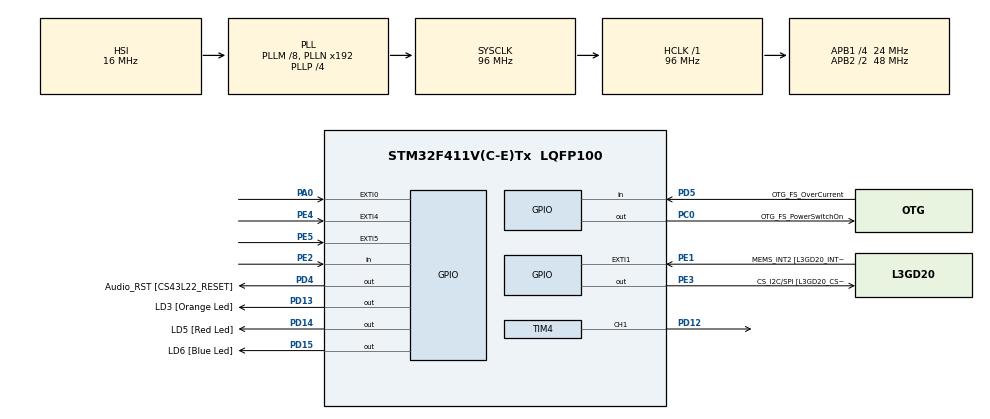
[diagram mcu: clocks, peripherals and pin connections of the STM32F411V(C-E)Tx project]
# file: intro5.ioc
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Mcu.Family=STM32F4
Mcu.Name=STM32F411V(C-E)Tx
Mcu.Package=LQFP100
NVIC.EXTI0_IRQn=true\:0\:0\:false\:false\:true\:true\:true\:true
NVIC.PriorityGroup=NVIC_PRIORITYGROUP_0
PA0-WKUP.GPIO_ModeDefaultEXTI=GPIO_MODE_IT_RISING
PA0-WKUP.Signal=GPXTI0
PA10.GPIO_Label=OTG_FS_ID
PA10.Signal=USB_OTG_FS_ID
PA11.GPIO_Label=OTG_FS_DM
PA11.Signal=USB_OTG_FS_DM
PA12.GPIO_Label=OTG_FS_DP
PA12.Signal=USB_OTG_FS_DP
PA13.GPIO_Label=SWDIO
PA13.Signal=SYS_JTMS-SWDIO
PA14.GPIO_Label=SWCLK
PA14.Signal=SYS_JTCK-SWCLK
PA4.GPIO_Label=I2S3_WS [CS43L22_LRCK]
PA4.GPIO_Mode=GPIO_MODE_AF_PP
PA4.GPIO_PuPd=GPIO_NOPULL
PA4.GPIO_Speed=GPIO_SPEED_FREQ_LOW
PA4.Signal=I2S3_WS
PA5.GPIO_Label=SPI1_SCK [L3GD20_SC/SPC]
PA5.Signal=SPI1_SCK
PA6.GPIO_Label=SPI1_MISO [L3GD20_AS0/SDO]
PA6.Signal=SPI1_MISO
PA7.GPIO_Label=SPI1_MOSI [L3GD20_SDA/SDI/SDO]
PA7.Signal=SPI1_MOSI
PA9.GPIO_Label=VBUS_FS
PA9.Signal=USB_OTG_FS_VBUS
PB10.GPIO_Label=CLK_IN [MP45DT02_CLK]
PB10.Signal=I2S2_CK
PB12.Signal=I2S2_WS
PB3.GPIO_Label=SWO
PB3.Signal=SYS_JTDO-SWO
PB6.GPIO_Label=Audio_SCL [CS43L22_SCL]
PB6.GPIO_Mode=GPIO_MODE_AF_OD
PB6.GPIO_PuPd=GPIO_NOPULL
PB6.GPIO_Speed=GPIO_SPEED_FREQ_LOW
PB6.Signal=I2C1_SCL
PB9.GPIO_Label=Audio_SDA [CS43L22_SDA]
PB9.GPIO_Mode=GPIO_MODE_AF_OD
PB9.GPIO_PuPd=GPIO_NOPULL
PB9.GPIO_Speed=GPIO_SPEED_FREQ_LOW
PB9.Signal=I2C1_SDA
PC0.GPIO_Label=OTG_FS_PowerSwitchOn
PC0.PinState=GPIO_PIN_SET
PC0.Signal=GPIO_Output
PC10.GPIO_Label=I2S3_SCK [CS43L22_SCLK]
PC10.GPIO_Mode=GPIO_MODE_AF_PP
PC10.GPIO_PuPd=GPIO_NOPULL
PC10.GPIO_Speed=GPIO_SPEED_FREQ_LOW
PC10.Signal=I2S3_CK
PC12.GPIO_Label=I2S3_SD [CS43L22_SDIN]
PC12.GPIO_Mode=GPIO_MODE_AF_PP
PC12.GPIO_PuPd=GPIO_NOPULL
PC12.GPIO_Speed=GPIO_SPEED_FREQ_LOW
PC12.Signal=I2S3_SD
PC14-OSC32_IN.GPIO_Label=PC14-OSC32_IN
PC14-OSC32_IN.Signal=RCC_OSC32_IN
PC15-OSC32_OUT.GPIO_Label=PC15-OSC32_OUT
PC15-OSC32_OUT.Signal=RCC_OSC32_OUT
PC3.GPIO_Label=PDM_OUT [MP45DT02_DOUT]
PC3.Signal=I2S2_SD
PC7.GPIO_Label=I2S3_MCK [CS43L22_MCLK]
PC7.GPIO_Mode=GPIO_MODE_AF_PP
PC7.GPIO_PuPd=GPIO_NOPULL
PC7.GPIO_Speed=GPIO_SPEED_FREQ_LOW
PC7.Signal=I2S3_MCK
PD12.Signal=S_TIM4_CH1
PD13.GPIO_Label=LD3 [Orange Led]
PD13.GPIO_PuPd=GPIO_NOPULL
PD13.GPIO_Speed=GPIO_SPEED_FREQ_LOW
PD13.Signal=GPIO_Output
PD14.GPIO_Label=LD5 [Red Led]
PD14.GPIO_PuPd=GPIO_NOPULL
PD14.GPIO_Speed=GPIO_SPEED_FREQ_LOW
PD14.Signal=GPIO_Output
PD15.GPIO_Label=LD6 [Blue Led]
PD15.GPIO_PuPd=GPIO_NOPULL
PD15.GPIO_Speed=GPIO_SPEED_FREQ_LOW
PD15.Signal=GPIO_Output
PD4.GPIO_Label=Audio_RST [CS43L22_RESET]
PD4.Signal=GPIO_Output
PD5.GPIO_Label=OTG_FS_OverCurrent
PD5.Signal=GPIO_Input
PE1.GPIO_Label=MEMS_INT2 [L3GD20_INT2]
PE1.GPIO_ModeDefaultEXTI=GPIO_MODE_EVT_RISING
PE1.Signal=GPXTI1
PE2.Signal=GPIO_Input
PE3.GPIO_Label=CS_I2C/SPI [L3GD20_CS_I2C/SPI]
PE3.Signal=GPIO_Output
PE4.GPIO_ModeDefaultEXTI=GPIO_MODE_EVT_RISING
PE4.Signal=GPXTI4
PE5.GPIO_ModeDefaultEXTI=GPIO_MODE_EVT_RISING
PE5.Signal=GPXTI5
PH0\ -\ OSC_IN.GPIO_Label=PH0-OSC_IN
PH0\ -\ OSC_IN.Signal=RCC_OSC_IN
PH1\ -\ OSC_OUT.GPIO_Label=PH1-OSC_OUT
PH1\ -\ OSC_OUT.Signal=RCC_OSC_OUT
ProjectManager.HeapSize=0x200
ProjectManager.StackSize=0x400
ProjectManager.TargetToolchain=STM32CubeIDE
RCC.48MHZClocksFreq_Value=48000000
RCC.AHBFreq_Value=96000000
RCC.APB1CLKDivider=RCC_HCLK_DIV4
RCC.APB1Freq_Value=24000000
RCC.APB1TimFreq_Value=48000000
RCC.APB2CLKDivider=RCC_HCLK_DIV2
RCC.APB2Freq_Value=48000000
RCC.APB2TimFreq_Value=96000000
RCC.CortexFreq_Value=96000000
RCC.HCLKFreq_Value=96000000
RCC.HSE_VALUE=8000000
RCC.HSI_VALUE=16000000
RCC.LSE_VALUE=32768
RCC.PLLI2SM=5
RCC.PLLI2SN=200
RCC.PLLM=8
RCC.PLLP=RCC_PLLP_DIV4
RCC.PLLQ=8
RCC.SYSCLKFreq_VALUE=96000000
RCC.SYSCLKSource=RCC_SYSCLKSOURCE_PLLCLK
RCC.VCOOutputFreq_Value=384000000
SH.S_TIM4_CH1.0=TIM4_CH1,PWM Generation1 CH1
TIM4.Channel-PWM\ Generation1\ CH1=TIM_CHANNEL_1
TIM4.Period=1000
TIM4.Prescaler=480-1
TIM4.Pulse-PWM\ Generation1\ CH1=250
VP_TIM4_VS_ClockSourceINT.Mode=Internal
board=STM32F411E-DISCO

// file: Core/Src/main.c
/* USER CODE BEGIN Header */
/**
  ******************************************************************************
  * @file           : main.c
  * @brief          : Main program body
  ******************************************************************************
  * @attention
  *
  * Copyright (c) 2024 STMicroelectronics.
  * All rights reserved.
  *
  * This software is licensed under terms that can be found in the LICENSE file
  * in the root directory of this software component.
  * If no LICENSE file comes with this software, it is provided AS-IS.
  *
  ******************************************************************************
  */
/* USER CODE END Header */
#include "main.h"

TIM_HandleTypeDef htim4;

void SystemClock_Config(void);
static void MX_GPIO_Init(void);
static void MX_TIM4_Init(void);

int main(void)
{

  /* USER CODE BEGIN 1 */
	initialise_monitor_handles();
  /* USER CODE END 1 */

  /* MCU Configuration--------------------------------------------------------*/

  /* Reset of all peripherals, Initializes the Flash interface and the Systick. */
  HAL_Init();

  /* Configure the system clock */
  SystemClock_Config();

  /* Initialize all configured peripherals */
  MX_GPIO_Init();
  MX_TIM4_Init();
  /* USER CODE BEGIN 2 */

printf("Gasimy switlo.\n");
HAL_SuspendTick();

HAL_PWR_EnableSleepOnExit();

HAL_PWR_EnterSLEEPMode(0, PWR_SLEEPENTRY_WFI);

HAL_ResumeTick(); //przywracamy tick :3
printf("zapalamy switlo.\n");

  /* USER CODE END 2 */

  /* Infinite loop */
  /* USER CODE BEGIN WHILE */
printf("wchodzimy w delay\n");
  while (1)
  {
	  HAL_Delay(500);
	  HAL_GPIO_TogglePin(LD3_GPIO_Port, LD3_Pin);
	  //printf("po swieceniu diody\n");
    /* USER CODE END WHILE */

  }
}

void SystemClock_Config(void)
{
  RCC_OscInitTypeDef RCC_OscInitStruct = {0};
  RCC_ClkInitTypeDef RCC_ClkInitStruct = {0};

  /** Configure the main internal regulator output voltage
  */
  __HAL_RCC_PWR_CLK_ENABLE();
  __HAL_PWR_VOLTAGESCALING_CONFIG(PWR_REGULATOR_VOLTAGE_SCALE1);

  /** Initializes the RCC Oscillators according to the specified parameters
  * in the RCC_OscInitTypeDef structure.
  */
  RCC_OscInitStruct.OscillatorType = RCC_OSCILLATORTYPE_HSI;
  RCC_OscInitStruct.HSIState = RCC_HSI_ON;
  RCC_OscInitStruct.HSICalibrationValue = RCC_HSICALIBRATION_DEFAULT;
  RCC_OscInitStruct.PLL.PLLState = RCC_PLL_ON;
  RCC_OscInitStruct.PLL.PLLSource = RCC_PLLSOURCE_HSI;
  RCC_OscInitStruct.PLL.PLLM = 8;
  RCC_OscInitStruct.PLL.PLLN = 192;
  RCC_OscInitStruct.PLL.PLLP = RCC_PLLP_DIV4;
  RCC_OscInitStruct.PLL.PLLQ = 8;
  if (HAL_RCC_OscConfig(&RCC_OscInitStruct) != HAL_OK)
  {
    Error_Handler();
  }

  /** Initializes the CPU, AHB and APB buses clocks
  */
  RCC_ClkInitStruct.ClockType = RCC_CLOCKTYPE_HCLK|RCC_CLOCKTYPE_SYSCLK
                              |RCC_CLOCKTYPE_PCLK1|RCC_CLOCKTYPE_PCLK2;
  RCC_ClkInitStruct.SYSCLKSource = RCC_SYSCLKSOURCE_PLLCLK;
  RCC_ClkInitStruct.AHBCLKDivider = RCC_SYSCLK_DIV1;
  RCC_ClkInitStruct.APB1CLKDivider = RCC_HCLK_DIV4;
  RCC_ClkInitStruct.APB2CLKDivider = RCC_HCLK_DIV2;

  if (HAL_RCC_ClockConfig(&RCC_ClkInitStruct, FLASH_LATENCY_3) != HAL_OK)
  {
    Error_Handler();
  }
}

static void MX_TIM4_Init(void)
{

  TIM_ClockConfigTypeDef sClockSourceConfig = {0};
  TIM_MasterConfigTypeDef sMasterConfig = {0};
  TIM_OC_InitTypeDef sConfigOC = {0};

  htim4.Instance = TIM4;
  htim4.Init.Prescaler = 480-1;
  htim4.Init.CounterMode = TIM_COUNTERMODE_UP;
  htim4.Init.Period = 1000;
  htim4.Init.ClockDivision = TIM_CLOCKDIVISION_DIV1;
  htim4.Init.AutoReloadPreload = TIM_AUTORELOAD_PRELOAD_DISABLE;
  if (HAL_TIM_Base_Init(&htim4) != HAL_OK)
  {
    Error_Handler();
  }
  sClockSourceConfig.ClockSource = TIM_CLOCKSOURCE_INTERNAL;
  if (HAL_TIM_ConfigClockSource(&htim4, &sClockSourceConfig) != HAL_OK)
  {
    Error_Handler();
  }
  if (HAL_TIM_PWM_Init(&htim4) != HAL_OK)
  {
    Error_Handler();
  }
  sMasterConfig.MasterOutputTrigger = TIM_TRGO_RESET;
  sMasterConfig.MasterSlaveMode = TIM_MASTERSLAVEMODE_DISABLE;
  if (HAL_TIMEx_MasterConfigSynchronization(&htim4, &sMasterConfig) != HAL_OK)
  {
    Error_Handler();
  }
  sConfigOC.OCMode = TIM_OCMODE_PWM1;
  sConfigOC.Pulse = 250;
  sConfigOC.OCPolarity = TIM_OCPOLARITY_HIGH;
  sConfigOC.OCFastMode = TIM_OCFAST_DISABLE;
  if (HAL_TIM_PWM_ConfigChannel(&htim4, &sConfigOC, TIM_CHANNEL_1) != HAL_OK)
  {
    Error_Handler();
  }
  HAL_TIM_MspPostInit(&htim4);

}

static void MX_GPIO_Init(void)
{
  GPIO_InitTypeDef GPIO_InitStruct = {0};

  /* GPIO Ports Clock Enable */
  __HAL_RCC_GPIOE_CLK_ENABLE();
  __HAL_RCC_GPIOC_CLK_ENABLE();
  __HAL_RCC_GPIOH_CLK_ENABLE();
  __HAL_RCC_GPIOA_CLK_ENABLE();
  __HAL_RCC_GPIOB_CLK_ENABLE();
  __HAL_RCC_GPIOD_CLK_ENABLE();

  /*Configure GPIO pin Output Level */
  HAL_GPIO_WritePin(CS_I2C_SPI_GPIO_Port, CS_I2C_SPI_Pin, GPIO_PIN_RESET);

  /*Configure GPIO pin Output Level */
  HAL_GPIO_WritePin(OTG_FS_PowerSwitchOn_GPIO_Port, OTG_FS_PowerSwitchOn_Pin, GPIO_PIN_SET);

  /*Configure GPIO pin Output Level */
  HAL_GPIO_WritePin(GPIOD, LD3_Pin|LD5_Pin|LD6_Pin|Audio_RST_Pin, GPIO_PIN_RESET);

  /*Configure GPIO pin : PE2 */
  GPIO_InitStruct.Pin = GPIO_PIN_2;
  GPIO_InitStruct.Mode = GPIO_MODE_INPUT;
  GPIO_InitStruct.Pull = GPIO_NOPULL;
  HAL_GPIO_Init(GPIOE, &GPIO_InitStruct);

  /*Configure GPIO pin : CS_I2C_SPI_Pin */
  GPIO_InitStruct.Pin = CS_I2C_SPI_Pin;
  GPIO_InitStruct.Mode = GPIO_MODE_OUTPUT_PP;
  GPIO_InitStruct.Pull = GPIO_NOPULL;
  GPIO_InitStruct.Speed = GPIO_SPEED_FREQ_LOW;
  HAL_GPIO_Init(CS_I2C_SPI_GPIO_Port, &GPIO_InitStruct);

  /*Configure GPIO pins : PE4 PE5 MEMS_INT2_Pin */
  GPIO_InitStruct.Pin = GPIO_PIN_4|GPIO_PIN_5|MEMS_INT2_Pin;
  GPIO_InitStruct.Mode = GPIO_MODE_EVT_RISING;
  GPIO_InitStruct.Pull = GPIO_NOPULL;
  HAL_GPIO_Init(GPIOE, &GPIO_InitStruct);

  /*Configure GPIO pin : OTG_FS_PowerSwitchOn_Pin */
  GPIO_InitStruct.Pin = OTG_FS_PowerSwitchOn_Pin;
  GPIO_InitStruct.Mode = GPIO_MODE_OUTPUT_PP;
  GPIO_InitStruct.Pull = GPIO_NOPULL;
  GPIO_InitStruct.Speed = GPIO_SPEED_FREQ_LOW;
  HAL_GPIO_Init(OTG_FS_PowerSwitchOn_GPIO_Port, &GPIO_InitStruct);

  /*Configure GPIO pin : PDM_OUT_Pin */
  GPIO_InitStruct.Pin = PDM_OUT_Pin;
  GPIO_InitStruct.Mode = GPIO_MODE_AF_PP;
  GPIO_InitStruct.Pull = GPIO_NOPULL;
  GPIO_InitStruct.Speed = GPIO_SPEED_FREQ_LOW;
  GPIO_InitStruct.Alternate = GPIO_AF5_SPI2;
  HAL_GPIO_Init(PDM_OUT_GPIO_Port, &GPIO_InitStruct);

  /*Configure GPIO pin : PA0 */
  GPIO_InitStruct.Pin = GPIO_PIN_0;
  GPIO_InitStruct.Mode = GPIO_MODE_IT_RISING;
  GPIO_InitStruct.Pull = GPIO_NOPULL;
  HAL_GPIO_Init(GPIOA, &GPIO_InitStruct);

  /*Configure GPIO pin : I2S3_WS_Pin */
  GPIO_InitStruct.Pin = I2S3_WS_Pin;
  GPIO_InitStruct.Mode = GPIO_MODE_AF_PP;
  GPIO_InitStruct.Pull = GPIO_NOPULL;
  GPIO_InitStruct.Speed = GPIO_SPEED_FREQ_LOW;
  GPIO_InitStruct.Alternate = GPIO_AF6_SPI3;
  HAL_GPIO_Init(I2S3_WS_GPIO_Port, &GPIO_InitStruct);

  /*Configure GPIO pins : SPI1_SCK_Pin SPI1_MISO_Pin SPI1_MOSI_Pin */
  GPIO_InitStruct.Pin = SPI1_SCK_Pin|SPI1_MISO_Pin|SPI1_MOSI_Pin;
  GPIO_InitStruct.Mode = GPIO_MODE_AF_PP;
  GPIO_InitStruct.Pull = GPIO_NOPULL;
  GPIO_InitStruct.Speed = GPIO_SPEED_FREQ_VERY_HIGH;
  GPIO_InitStruct.Alternate = GPIO_AF5_SPI1;
  HAL_GPIO_Init(GPIOA, &GPIO_InitStruct);

  /*Configure GPIO pins : CLK_IN_Pin PB12 */
  GPIO_InitStruct.Pin = CLK_IN_Pin|GPIO_PIN_12;
  GPIO_InitStruct.Mode = GPIO_MODE_AF_PP;
  GPIO_InitStruct.Pull = GPIO_NOPULL;
  GPIO_InitStruct.Speed = GPIO_SPEED_FREQ_LOW;
  GPIO_InitStruct.Alternate = GPIO_AF5_SPI2;
  HAL_GPIO_Init(GPIOB, &GPIO_InitStruct);

  /*Configure GPIO pins : LD3_Pin LD5_Pin LD6_Pin Audio_RST_Pin */
  GPIO_InitStruct.Pin = LD3_Pin|LD5_Pin|LD6_Pin|Audio_RST_Pin;
  GPIO_InitStruct.Mode = GPIO_MODE_OUTPUT_PP;
  GPIO_InitStruct.Pull = GPIO_NOPULL;
  GPIO_InitStruct.Speed = GPIO_SPEED_FREQ_LOW;
  HAL_GPIO_Init(GPIOD, &GPIO_InitStruct);

  /*Configure GPIO pins : I2S3_MCK_Pin I2S3_SCK_Pin I2S3_SD_Pin */
  GPIO_InitStruct.Pin = I2S3_MCK_Pin|I2S3_SCK_Pin|I2S3_SD_Pin;
  GPIO_InitStruct.Mode = GPIO_MODE_AF_PP;
  GPIO_InitStruct.Pull = GPIO_NOPULL;
  GPIO_InitStruct.Speed = GPIO_SPEED_FREQ_LOW;
  GPIO_InitStruct.Alternate = GPIO_AF6_SPI3;
  HAL_GPIO_Init(GPIOC, &GPIO_InitStruct);

  /*Configure GPIO pin : VBUS_FS_Pin */
  GPIO_InitStruct.Pin = VBUS_FS_Pin;
  GPIO_InitStruct.Mode = GPIO_MODE_INPUT;
  GPIO_InitStruct.Pull = GPIO_NOPULL;
  HAL_GPIO_Init(VBUS_FS_GPIO_Port, &GPIO_InitStruct);

  /*Configure GPIO pins : OTG_FS_ID_Pin OTG_FS_DM_Pin OTG_FS_DP_Pin */
  GPIO_InitStruct.Pin = OTG_FS_ID_Pin|OTG_FS_DM_Pin|OTG_FS_DP_Pin;
  GPIO_InitStruct.Mode = GPIO_MODE_AF_PP;
  GPIO_InitStruct.Pull = GPIO_NOPULL;
  GPIO_InitStruct.Speed = GPIO_SPEED_FREQ_VERY_HIGH;
  GPIO_InitStruct.Alternate = GPIO_AF10_OTG_FS;
  HAL_GPIO_Init(GPIOA, &GPIO_InitStruct);

  /*Configure GPIO pin : OTG_FS_OverCurrent_Pin */
  GPIO_InitStruct.Pin = OTG_FS_OverCurrent_Pin;
  GPIO_InitStruct.Mode = GPIO_MODE_INPUT;
  GPIO_InitStruct.Pull = GPIO_NOPULL;
  HAL_GPIO_Init(OTG_FS_OverCurrent_GPIO_Port, &GPIO_InitStruct);

  /*Configure GPIO pins : Audio_SCL_Pin Audio_SDA_Pin */
  GPIO_InitStruct.Pin = Audio_SCL_Pin|Audio_SDA_Pin;
  GPIO_InitStruct.Mode = GPIO_MODE_AF_OD;
  GPIO_InitStruct.Pull = GPIO_NOPULL;
  GPIO_InitStruct.Speed = GPIO_SPEED_FREQ_LOW;
  GPIO_InitStruct.Alternate = GPIO_AF4_I2C1;
  HAL_GPIO_Init(GPIOB, &GPIO_InitStruct);

  /* EXTI interrupt init*/
  HAL_NVIC_SetPriority(EXTI0_IRQn, 0, 0);
  HAL_NVIC_EnableIRQ(EXTI0_IRQn);

}

/* USER CODE BEGIN 4 */
int call_number = 0;
HAL_GPIO_EXTI_Callback(uint16_t GPIO_Pin)
{
	printf("wcisnieto przycisk: %d \n", call_number);
	call_number++;
	if(call_number==8){
		HAL_PWR_DisableSleepOnExit();
	}
}

/* USER CODE END 4 */

void Error_Handler(void)
{
  __disable_irq();
  while (1)
  {
  }
}
